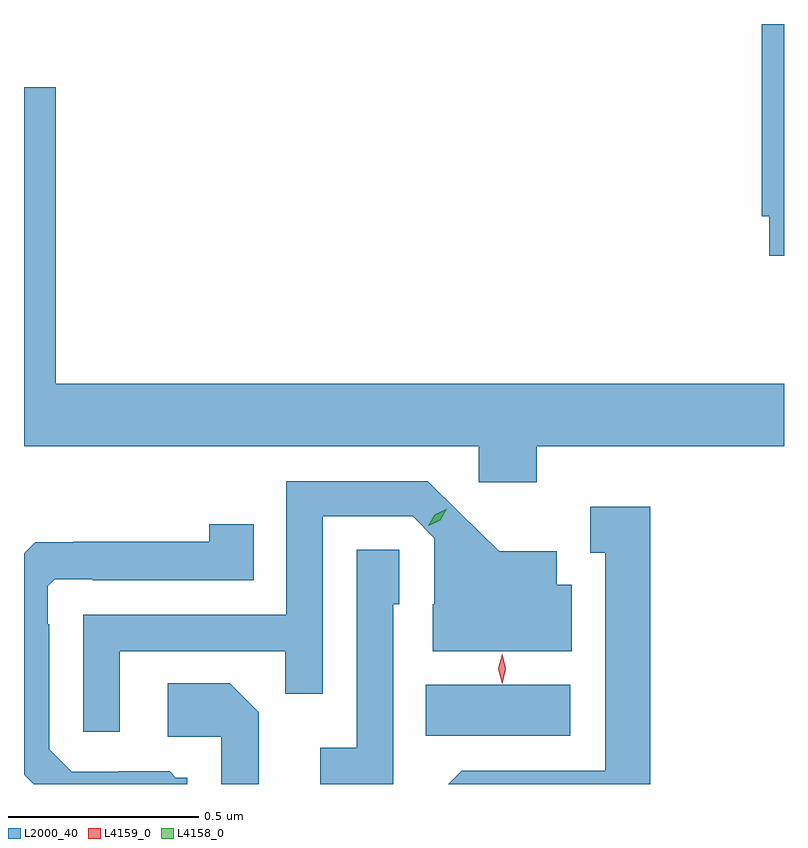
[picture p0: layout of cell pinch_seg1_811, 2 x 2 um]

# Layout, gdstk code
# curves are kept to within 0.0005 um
import gdstk
lib = gdstk.Library(unit=1e-6, precision=1e-09)
def R(c, l, rs):  # rectangles x0, y0, x1, y1
    for r in rs: c.add(gdstk.rectangle(r[:2], r[2:], *l))
def P(c, l, *ps):  # polygons
    for p in ps: c.add(gdstk.Polygon(p, *l))
L2000_40 = (2000, 40)
L4158_0 = (4158, 0)
L4159_0 = (4159, 0)

pinch_seg1_811 = lib.new_cell('pinch_seg1_811')
R(pinch_seg1_811, L2000_40, [(373.576,574.946,373.957,575.08)])
P(pinch_seg1_811, L2000_40, [(374.519,576.819),(374.461,576.819),(374.461,576.313),(374.48,576.313),(374.48,576.209),(374.519,576.209)],
  [(373.868,575.708),(374.519,575.708),(374.519,575.872),(372.602,575.872),(372.602,576.652),(372.519,576.652),(372.519,575.708),(373.716,575.708),(373.716,575.613),(373.868,575.613)],
  [(372.771,575.169),(373.207,575.169),(373.207,575.056),(373.305,575.056),(373.305,575.523),(373.542,575.523),(373.599,575.466),(373.599,575.292),(373.595,575.292),(373.595,575.168),(373.96,575.168),(373.96,575.344),(373.921,575.344),(373.921,575.431),(373.769,575.431),(373.582,575.616),(373.209,575.616),(373.209,575.265),(372.675,575.265),(372.675,574.956),(372.771,574.956)],
  [(374.167,575.548),(374.009,575.548),(374.009,575.427),(374.048,575.427),(374.048,574.854),(373.671,574.854),(373.636,574.819),(374.167,574.819)],
  [(372.949,574.836),(372.918,574.836),(372.902,574.852),(372.768,574.852),(372.768,574.851),(372.645,574.851),(372.585,574.911),(372.585,575.24),(372.582,575.24),(372.582,575.34),(372.6,575.358),(372.7,575.358),(372.7,575.355),(373.124,575.355),(373.124,575.503),(373.006,575.503),(373.006,575.456),(372.649,575.456),(372.649,575.455),(372.548,575.455),(372.519,575.426),(372.519,574.844),(372.544,574.819),(372.949,574.819)],
  [(373.491,575.292),(373.506,575.292),(373.506,575.435),(373.395,575.435),(373.395,574.915),(373.299,574.915),(373.299,574.819),(373.491,574.819)],
  [(373.137,575.008),(373.061,575.084),(372.897,575.084),(372.897,574.944),(373.038,574.944),(373.038,574.819),(373.137,574.819)])
P(pinch_seg1_811, L4158_0, [(373.583,575.498),(373.583,575.498),(373.6,575.528),(373.631,575.543),(373.631,575.543),(373.631,575.543),(373.614,575.513),(373.584,575.498)])
P(pinch_seg1_811, L4159_0, [(373.777,575.083),(373.777,575.083),(373.767,575.122),(373.777,575.161),(373.777,575.162),(373.777,575.161),(373.787,575.122),(373.778,575.083)])

lib.write_gds('pinch_seg1_811.gds')
